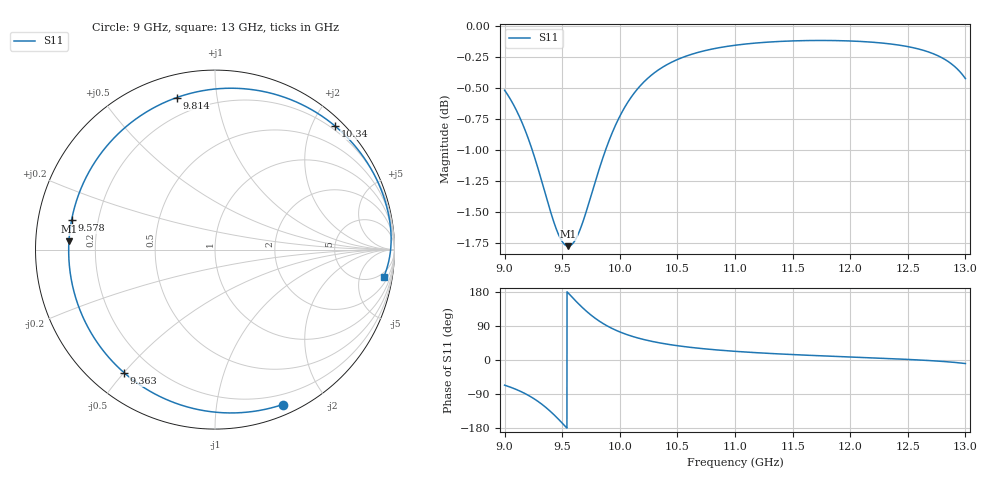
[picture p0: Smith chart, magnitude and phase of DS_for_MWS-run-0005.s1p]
! TOUCHSTONE file generated by CST DESIGN STUDIO
! Date and time: Tue Feb  4 18:12:22 2025
! Project name: C:\Work\MatlabApps\UnitCellOptimizationMatlab\CST\unitcell.cst
! Tree item: Tasks\Sweep1\SPara1\S-Parameters
! Header version: 2024
! Port assignment regex: !\s*Touchstone port\s*([0-9]+)\s*=\s*(CST MWS port|CST DES external port|CST DES block port)\s*(.+)\s* \(\"(.*)\"\)(\s*mode\s*([0-9]+))?.*
! Touchstone port assignment:
! Touchstone port 1 = CST DES external port 1 ("")
# GHz S MA R 50
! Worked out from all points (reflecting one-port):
!   4001 points, 9 GHz to 13 GHz, reference 50 ohm
!   lowest |S11| = -1.8 dB at 9.552 GHz (marker M1), VSWR 9.82, Z = 5.1 + j1.42 ohm
!   phase of S11 starts at -66 deg and turns -303 deg over the sweep
!   S11 on the Smith chart (normalised r, x): 9 GHz: 0.10, -1.52; 9.363 GHz: 0.10, -0.50; 9.578 GHz: 0.10, +0.10; 9.814 GHz: 0.11, +0.77; 10.34 GHz: 0.14, +2.37; 13 GHz: 3, -11
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9  0.942 -66.4
9.103  0.9245 -78.0
9.215  0.8981 -94.8
9.293  0.8751 -109.9
9.363  0.8527 -126.4
9.428  0.8334 -144.3
9.465  0.8246 -155.4
9.5  0.8186 -166.5
9.552  0.8151 176.7
9.578  0.816 168.3
9.633  0.8231 150.9
9.698  0.8387 132.0
9.755  0.8555 117.4
9.814  0.8735 104.2
9.897  0.8965 88.9
10  0.9195 74.1
10.074  0.9323 65.8
10.154  0.9432 58.3
10.24  0.9522 51.7
10.336  0.96 45.7
10.5  0.9692 37.7
10.721  0.9768 29.9
11  0.9821 22.9
11.5  0.9861 14.3
12  0.986 7.9
12.5  0.9809 1.5
12.782  0.9716 -3.3
13  0.9522 -9.3
